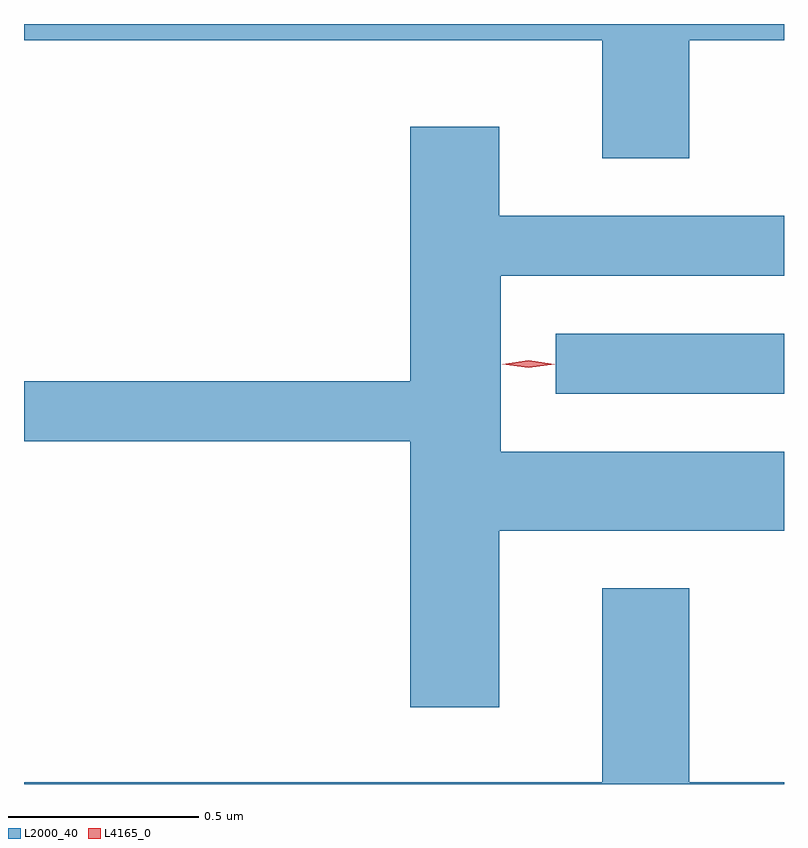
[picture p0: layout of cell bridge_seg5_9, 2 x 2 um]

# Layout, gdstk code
import gdstk
lib = gdstk.Library(unit=1e-6, precision=1e-09)
def R(c, l, rs):  # rectangles x0, y0, x1, y1
    for r in rs: c.add(gdstk.rectangle(r[:2], r[2:], *l))
def P(c, l, *ps):  # polygons
    for p in ps: c.add(gdstk.Polygon(p, *l))
L2000_40 = (2000, 40)
L4165_0 = (4165, 0)

bridge_seg5_9 = lib.new_cell('bridge_seg5_9')
R(bridge_seg5_9, L2000_40, [(1727.498,1427.006,1728.099,1427.164)])
P(bridge_seg5_9, L2000_40, [(1727.849,1427.936),(1728.099,1427.936),(1728.099,1427.979),(1726.099,1427.979),(1726.099,1427.936),(1727.621,1427.936),(1727.621,1427.626),(1727.849,1427.626)],
  [(1727.349,1426.646),(1728.099,1426.646),(1728.099,1426.854),(1727.354,1426.854),(1727.354,1427.316),(1728.099,1427.316),(1728.099,1427.474),(1727.349,1427.474),(1727.349,1427.709),(1727.116,1427.709),(1727.116,1427.039),(1726.099,1427.039),(1726.099,1426.881),(1727.116,1426.881),(1727.116,1426.181),(1727.349,1426.181)],
  [(1728.099,1425.984),(1727.849,1425.984),(1727.849,1426.494),(1727.621,1426.494),(1727.621,1425.984),(1726.099,1425.984),(1726.099,1425.979),(1728.099,1425.979)])
P(bridge_seg5_9, L4165_0, [(1727.427,1427.074),(1727.357,1427.083),(1727.357,1427.084),(1727.357,1427.084),(1727.427,1427.094),(1727.496,1427.084),(1727.496,1427.084),(1727.496,1427.083)],
  [(1727.427,1427.074),(1727.362,1427.083),(1727.361,1427.084),(1727.362,1427.084),(1727.427,1427.094),(1727.492,1427.084),(1727.493,1427.084),(1727.492,1427.083)])

lib.write_gds('bridge_seg5_9.gds')
